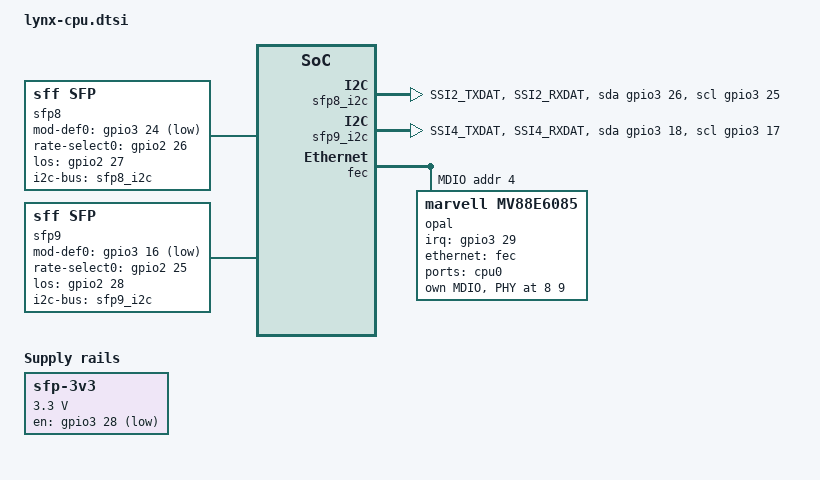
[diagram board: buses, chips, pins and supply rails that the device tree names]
#include <common/mv6.h>

/ {
	family = "Lynx";
};

&fec {
	mdio {
		#address-cells = <1>;
		#size-cells = <0>;

		opal: switch@4 {
			compatible = "marvell,mv88e6085";
			pinctrl-names = "default";
			pinctrl-0 = <&pinctrl_opal>;
			interrupt-parent = <&gpio3>;
			interrupts = <29 IRQ_TYPE_LEVEL_LOW>;
			reg = <0x4>;

			dsa,member = <0 0>;
			dsa,num_tx_queues = <4>;

			interrupt-controller;
			#interrupt-cells = <2>;

			ports {
				#address-cells = <1>;
				#size-cells = <0>;

				port@a {
					reg = <0xa>;
					label = "cpu0";
					ethernet = <&fec>;
					phy-mode = "rgmii-id";

					fixed-link {
						speed = <100>;
						full-duplex;
					};
				};

				mv6_port(0, "eth10", &phy0, "mii");
				mv6_port(1, "eth6",  &phy1, "mii");
				mv6_port(2, "eth9",  &phy2, "mii");
				mv6_port(3, "eth5",  &phy3, "mii");
				mv6_port(4, "eth8",  &phy4, "mii");
				mv6_port(5, "eth4",  &phy5, "mii");
				mv6_port(6, "eth7",  &phy6, "mii");
				mv6_port(7, "eth3",  &phy7, "mii");

				mv6_port(8, "eth2",  &phy8, "sgmii");
				mv6_port(9, "eth1",  &phy9, "sgmii");
			};

			mdio {
				#address-cells = <1>;
				#size-cells = <0>;
				interrupt-parent = <&opal>;

				phy0: mv6_phy(0);
				phy1: mv6_phy(1);
				phy2: mv6_phy(2);
				phy3: mv6_phy(3);
				phy4: mv6_phy(4);
				phy5: mv6_phy(5);
				phy6: mv6_phy(6);
				phy7: mv6_phy(7);
			};

			mdioe {
                                compatible = "marvell,mv88e6xxx-mdio-external";
                                #address-cells = <1>;
                                #size-cells = <0>;

				phy8: phy@8 {
					pinctrl-names = "default";
					pinctrl-0 = <&pinctrl_phy8>;

                                        reg = <8>;
					sfp = <&sfp8>;
					interrupt-parent = <&gpio3>;
					interrupts = <30 IRQ_TYPE_LEVEL_LOW>;

					marvell,reg-init =
					/* LOS: LOS, INIT: IRQ, STATUS1: Off, STATUS2: Link/act */
					<3 16 0x0000 0x0e81>,
					/* SIGDET polarity inverted */
					<1 16 0x0200 0x0200>;
                                };

                                phy9: phy@9 {
					pinctrl-names = "default";
					pinctrl-0 = <&pinctrl_phy9>;

                                        reg = <9>;
					sfp = <&sfp9>;
					interrupt-parent = <&gpio3>;
					interrupts = <31 IRQ_TYPE_LEVEL_LOW>;

					marvell,reg-init =
					/* LOS: LOS, INIT: IRQ, STATUS1: Off, STATUS2: Link/act */
					<3 16 0x0000 0x0e81>,
					/* SIGDET polarity inverted */
					<1 16 0x0200 0x0200>;
                                };
                        };

		};
	};
};

/ {
	regulator-sfp-3v3 {
		compatible = "regulator-fixed";
		pinctrl-names = "default";
		pinctrl-0 = <&pinctrl_sfpshared>;
		regulator-name = "sfp-3v3";
		regulator-min-microvolt = <3300000>;
		regulator-max-microvolt = <3300000>;
		gpio = <&gpio3 28 GPIO_ACTIVE_LOW>;
		regulator-always-on;
	};

	sfp8: sfp8 {
		/* "FX1" in the schematics (eth2) */
		compatible = "sff,sfp";
		pinctrl-names = "default";
		pinctrl-0 = <&pinctrl_sfp8>;
		maximum-power-milliwatt = <1000>;
		i2c-bus = <&sfp8_i2c>;

		/* Cannot be used by driver since they are shared */
		/* tx-fault-gpios     = <&gpio3 27 GPIO_ACTIVE_HIGH>; */
		/* tx-disable-gpios   = <&gpio3 28 GPIO_ACTIVE_HIGH>; */
		mod-def0-gpios     = <&gpio3 24 GPIO_ACTIVE_LOW>;
		rate-select0-gpios = <&gpio2 26 GPIO_ACTIVE_HIGH>;
		los-gpios          = <&gpio2 27 GPIO_ACTIVE_HIGH>;
	};

	sfp9: sfp9 {
		/* "FX0" in the schematics (eth1) */
		compatible = "sff,sfp";
		pinctrl-names = "default";
		pinctrl-0 = <&pinctrl_sfp9>;
		maximum-power-milliwatt = <1000>;
		i2c-bus = <&sfp9_i2c>;

		/* Cannot be used by driver since they are shared */
		/* tx-fault-gpios     = <&gpio3 27 GPIO_ACTIVE_HIGH>; */
		/* tx-disable-gpios   = <&gpio3 28 GPIO_ACTIVE_HIGH>; */
		mod-def0-gpios     = <&gpio3 16 GPIO_ACTIVE_LOW>;
		rate-select0-gpios = <&gpio2 25 GPIO_ACTIVE_HIGH>;
		los-gpios          = <&gpio2 28 GPIO_ACTIVE_HIGH>;
	};


	aliases {
		i2c2 = &sfp8_i2c;
		i2c3 = &sfp9_i2c;
	};

	sfp8_i2c: i2c-gpio2 {
		compatible = "i2c-gpio";
		pinctrl-names = "default";
		pinctrl-0 = <&pinctrl_i2c2_gpio>;

		sda-gpios = <&gpio3 26 (GPIO_ACTIVE_HIGH | GPIO_OPEN_DRAIN)>;
		scl-gpios = <&gpio3 25 (GPIO_ACTIVE_HIGH | GPIO_OPEN_DRAIN)>;

		/* ~50 kHz , measured by Anders Ö 2009-11-20. */
		i2c-gpio,delay-us = <8>;
	};

	sfp9_i2c: i2c-gpio3 {
		compatible = "i2c-gpio";
		pinctrl-names = "default";
		pinctrl-0 = <&pinctrl_i2c3_gpio>;

		sda-gpios = <&gpio3 18 (GPIO_ACTIVE_HIGH | GPIO_OPEN_DRAIN)>;
		scl-gpios = <&gpio3 17 (GPIO_ACTIVE_HIGH | GPIO_OPEN_DRAIN)>;

		/* ~50 kHz , measured by Anders Ö 2009-11-20. */
		i2c-gpio,delay-us = <8>;
	};


};

&pinctrls {
	pinctrl_opal: opalgrp {
		fsl,pins = <MX27_PAD_SSI3_RXDAT__GPIO3_29 0x0>;
	};
	pinctrl_phy8: phy8grp {
		fsl,pins = <MX27_PAD_SSI3_TXDAT__GPIO3_30 0x0>;
	};

	pinctrl_phy9: phy9grp {
		fsl,pins = <MX27_PAD_SSI3_CLK__GPIO3_31 0x0>;
	};

	pinctrl_sfpshared: sfpsharedgrp {
		fsl,pins = <
		MX27_PAD_SSI3_FS__GPIO3_28  0x0 /* TX disable */
		MX27_PAD_SSI2_CLK__GPIO3_27 0x0 /* TX fault */
		>;
	};

	pinctrl_sfp8: sfp8grp {
		fsl,pins = <
		MX27_PAD_USBH1_FS__GPIO2_26   0x0 /* Rate select */
		MX27_PAD_USBH1_OE_B__GPIO2_27 0x0 /* LOS */
		MX27_PAD_SSI2_FS__GPIO3_24    0x0 /* ModDef0 */
		>;
	};

	pinctrl_sfp9: sfp9grp {
		fsl,pins = <
		MX27_PAD_USBH1_RCV__GPIO2_25  0x0 /* Rate select */
		MX27_PAD_USBH1_TXDM__GPIO2_28 0x0 /* LOS */
		MX27_PAD_SSI4_FS__GPIO3_16    0x0 /* ModDef0 */
		>;
	};

	pinctrl_i2c2_gpio: gpio-i2c2_grp {
		fsl,pins = <
		MX27_PAD_SSI2_TXDAT__GPIO3_26 0x0
		MX27_PAD_SSI2_RXDAT__GPIO3_25 0x0
		>;
	};
	pinctrl_i2c3_gpio: gpio-i2c3_grp {
		fsl,pins = <
		MX27_PAD_SSI4_TXDAT__GPIO3_18 0x0
		MX27_PAD_SSI4_RXDAT__GPIO3_17 0x0
		>;
	};
};
